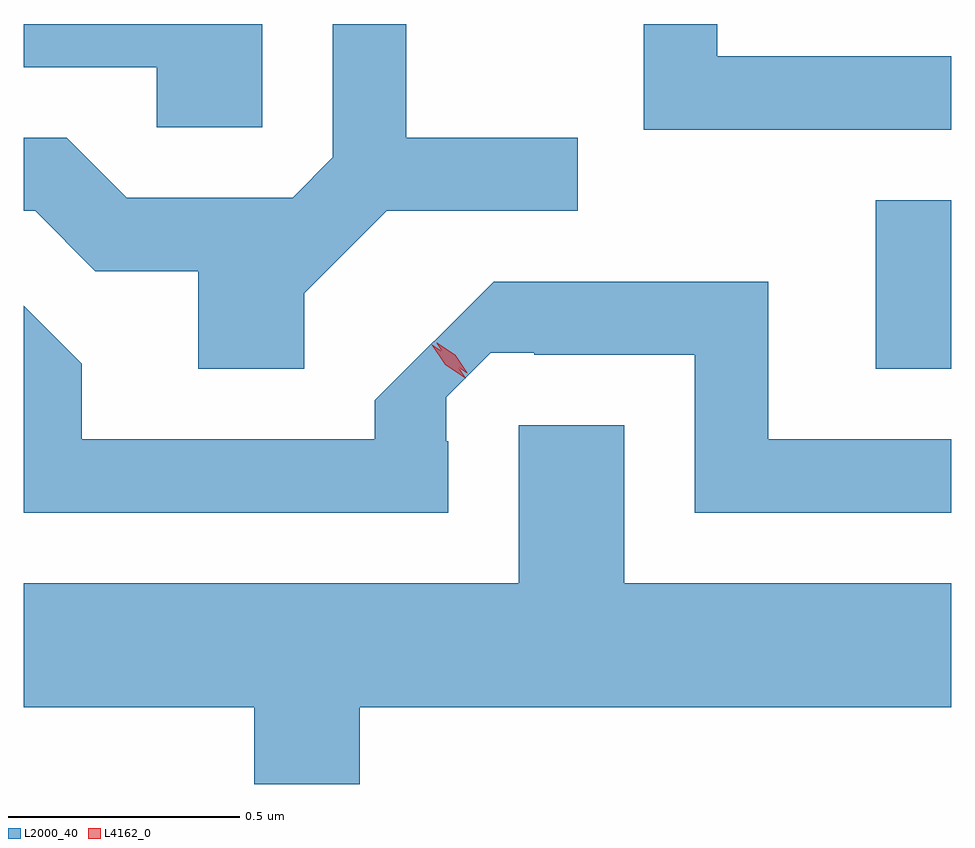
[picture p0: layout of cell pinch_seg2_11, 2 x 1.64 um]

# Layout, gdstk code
import gdstk
lib = gdstk.Library(unit=1e-6, precision=1e-09)
def R(c, l, rs):  # rectangles x0, y0, x1, y1
    for r in rs: c.add(gdstk.rectangle(r[:2], r[2:], *l))
def P(c, l, *ps):  # polygons
    for p in ps: c.add(gdstk.Polygon(p, *l))
L2000_40 = (2000, 40)
L4162_0 = (4162, 0)

pinch_seg2_11 = lib.new_cell('pinch_seg2_11')
R(pinch_seg2_11, L2000_40, [(1889.721,1071.246,1889.884,1071.609)])
P(pinch_seg2_11, L2000_40, [(1888.399,1071.989),(1887.884,1071.989),(1887.884,1071.896),(1888.171,1071.896),(1888.171,1071.766),(1888.399,1071.766)],
  [(1889.884,1071.919),(1889.379,1071.919),(1889.379,1071.989),(1889.221,1071.989),(1889.221,1071.761),(1889.884,1071.761)],
  [(1888.489,1071.409),(1888.667,1071.586),(1889.078,1071.586),(1889.078,1071.744),(1888.709,1071.744),(1888.709,1071.989),(1888.551,1071.989),(1888.551,1071.702),(1888.464,1071.614),(1888.107,1071.614),(1887.977,1071.744),(1887.884,1071.744),(1887.884,1071.586),(1887.909,1071.586),(1888.039,1071.456),(1888.261,1071.456),(1888.261,1071.246),(1888.489,1071.246)],
  [(1888.799,1071.09),(1888.795,1071.09),(1888.795,1071.185),(1888.891,1071.28),(1888.985,1071.28),(1888.985,1071.276),(1889.331,1071.276),(1889.331,1070.936),(1889.884,1070.936),(1889.884,1071.094),(1889.489,1071.094),(1889.489,1071.434),(1888.898,1071.434),(1888.641,1071.178),(1888.641,1071.094),(1888.009,1071.094),(1888.009,1071.257),(1887.884,1071.382),(1887.884,1070.936),(1888.799,1070.936)],
  [(1888.609,1070.516),(1889.884,1070.516),(1889.884,1070.784),(1889.179,1070.784),(1889.179,1071.124),(1888.951,1071.124),(1888.951,1070.784),(1887.884,1070.784),(1887.884,1070.516),(1888.381,1070.516),(1888.381,1070.351),(1888.609,1070.351)])
P(pinch_seg2_11, L4162_0, [(1888.836,1071.225),(1888.793,1071.255),(1888.764,1071.298),(1888.764,1071.298),(1888.765,1071.298),(1888.808,1071.269),(1888.837,1071.226),(1888.837,1071.225)],
  [(1888.84,1071.236),(1888.801,1071.262),(1888.775,1071.301),(1888.775,1071.302),(1888.776,1071.302),(1888.815,1071.276),(1888.84,1071.237),(1888.84,1071.236)])

lib.write_gds('pinch_seg2_11.gds')
